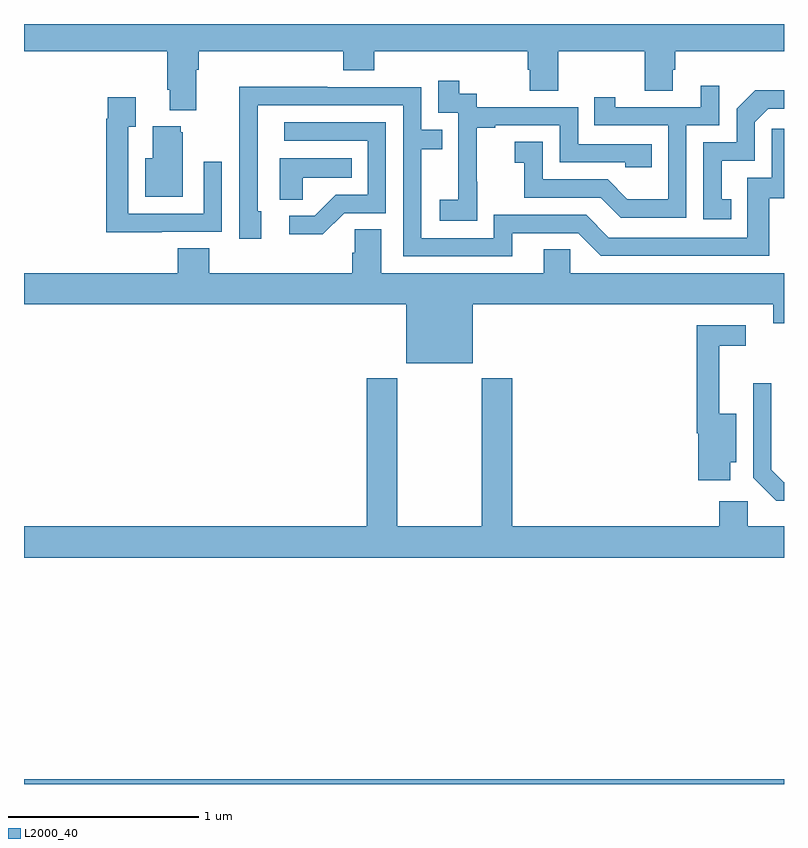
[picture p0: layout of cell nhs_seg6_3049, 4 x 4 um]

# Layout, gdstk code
import gdstk
lib = gdstk.Library(unit=1e-6, precision=1e-09)
def R(c, l, rs):  # rectangles x0, y0, x1, y1
    for r in rs: c.add(gdstk.rectangle(r[:2], r[2:], *l))
def P(c, l, *ps):  # polygons
    for p in ps: c.add(gdstk.Polygon(p, *l))
L2000_40 = (2000, 40)

nhs_seg6_3049 = lib.new_cell('nhs_seg6_3049')
R(nhs_seg6_3049, L2000_40, [(291,923.5,295,923.524)])
P(nhs_seg6_3049, L2000_40, [(291.907,927.26),(291.92,927.26),(291.92,927.356),(292.679,927.356),(292.679,927.257),(292.844,927.257),(292.844,927.356),(293.651,927.356),(293.651,927.258),(293.663,927.258),(293.663,927.148),(293.811,927.148),(293.811,927.356),(294.268,927.356),(294.268,927.148),(294.415,927.148),(294.415,927.258),(294.428,927.258),(294.428,927.356),(295,927.356),(295,927.5),(291,927.5),(291,927.356),(291.755,927.356),(291.755,927.154),(291.767,927.154),(291.767,927.047),(291.907,927.047)],
  [(293.385,926.671),(293.384,926.671),(293.384,926.955),(293.479,926.955),(293.479,926.967),(293.82,926.967),(293.82,926.772),(294.165,926.772),(294.165,926.745),(294.305,926.745),(294.305,926.868),(293.916,926.868),(293.916,927.063),(293.382,927.063),(293.382,927.132),(293.29,927.132),(293.29,927.202),(293.181,927.202),(293.181,927.033),(293.286,927.033),(293.286,926.804),(293.285,926.804),(293.285,926.575),(293.187,926.575),(293.187,926.465),(293.385,926.465)],
  [(294.486,926.967),(294.66,926.967),(294.66,927.175),(294.563,927.175),(294.563,927.063),(294.112,927.063),(294.112,927.115),(294.001,927.115),(294.001,926.967),(294.39,926.967),(294.39,926.578),(294.176,926.578),(294.072,926.682),(293.73,926.682),(293.73,926.881),(293.583,926.881),(293.583,926.771),(293.632,926.771),(293.632,926.586),(294.035,926.586),(294.14,926.481),(294.486,926.481)],
  [(293.569,926.4),(293.916,926.4),(294.036,926.28),(294.923,926.28),(294.923,926.583),(295,926.583),(295,926.95),(294.936,926.95),(294.936,926.691),(294.807,926.691),(294.807,926.376),(294.078,926.376),(293.958,926.496),(293.472,926.496),(293.472,926.373),(293.091,926.373),(293.091,926.842),(293.201,926.842),(293.201,926.943),(293.091,926.943),(293.091,927.168),(292.595,927.168),(292.595,927.17),(292.132,927.17),(292.132,926.863),(292.134,926.863),(292.134,926.37),(292.249,926.37),(292.249,926.514),(292.23,926.514),(292.23,927.072),(292.995,927.072),(292.995,926.277),(293.569,926.277)],
  [(294.722,926.577),(294.673,926.577),(294.673,926.781),(294.846,926.781),(294.846,926.982),(294.918,927.054),(295,927.054),(295,927.152),(294.848,927.152),(294.75,927.054),(294.75,926.877),(294.576,926.877),(294.576,926.472),(294.722,926.472)],
  [(291.725,926.406),(292.041,926.406),(292.041,926.776),(291.945,926.776),(291.945,926.502),(291.549,926.502),(291.549,926.959),(291.589,926.959),(291.589,927.115),(291.441,927.115),(291.441,927.002),(291.433,927.002),(291.433,926.405),(291.725,926.405)],
  [(292.686,926.505),(292.905,926.505),(292.905,926.982),(292.371,926.982),(292.371,926.886),(292.809,926.886),(292.809,926.601),(292.64,926.601),(292.529,926.49),(292.395,926.49),(292.395,926.393),(292.573,926.393)],
  [(291.835,926.931),(291.824,926.931),(291.824,926.962),(291.677,926.962),(291.677,926.794),(291.638,926.794),(291.638,926.591),(291.835,926.591)],
  [(292.467,926.69),(292.724,926.69),(292.724,926.794),(292.346,926.794),(292.346,926.575),(292.467,926.575)],
  [(293.362,926.024),(294.944,926.024),(294.944,925.926),(295,925.926),(295,926.188),(293.874,926.188),(293.874,926.315),(293.735,926.315),(293.735,926.188),(292.879,926.188),(292.879,926.42),(292.74,926.42),(292.74,926.297),(292.727,926.297),(292.727,926.188),(291.974,926.188),(291.974,926.321),(291.809,926.321),(291.809,926.188),(291,926.188),(291,926.024),(293.012,926.024),(293.012,925.715),(293.362,925.715)],
  [(294.718,925.193),(294.748,925.193),(294.748,925.45),(294.659,925.45),(294.659,925.806),(294.799,925.806),(294.799,925.914),(294.541,925.914),(294.541,925.346),(294.548,925.346),(294.548,925.098),(294.718,925.098)],
  [(295,924.856),(294.81,924.856),(294.81,924.988),(294.659,924.988),(294.659,924.856),(293.57,924.856),(293.57,925.636),(293.41,925.636),(293.41,924.856),(292.965,924.856),(292.965,925.636),(292.805,925.636),(292.805,924.856),(291,924.856),(291,924.692),(295,924.692)],
  [(295,925.089),(294.999,925.089),(294.933,925.155),(294.933,925.609),(294.837,925.609),(294.837,925.113),(294.958,924.992),(295,924.992)])

lib.write_gds('nhs_seg6_3049.gds')
